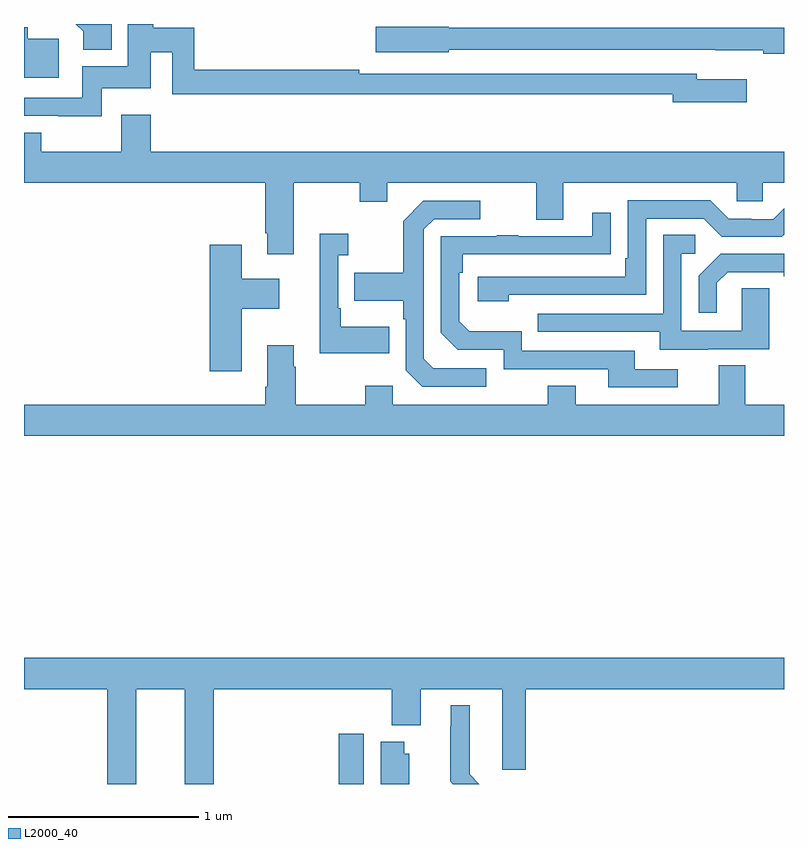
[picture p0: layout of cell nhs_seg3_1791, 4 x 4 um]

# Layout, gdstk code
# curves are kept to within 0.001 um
import gdstk
lib = gdstk.Library(unit=1e-6, precision=1e-09)
def R(c, l, rs):  # rectangles x0, y0, x1, y1
    for r in rs: c.add(gdstk.rectangle(r[:2], r[2:], *l))
def P(c, l, *ps):  # polygons
    for p in ps: c.add(gdstk.Polygon(p, *l))
L2000_40 = (2000, 40)

nhs_seg3_1791 = lib.new_cell('nhs_seg3_1791')
R(nhs_seg3_1791, L2000_40, [(204.656,716.4,204.787,716.665)])
P(nhs_seg3_1791, L2000_40, [(203.461,720.4),(203.273,720.4),(203.312,720.361),(203.312,720.264),(203.461,720.264)],
  [(203.41,720.062),(203.668,720.062),(203.668,720.252),(203.781,720.252),(203.781,720.03),(206.414,720.03),(206.414,719.987),(206.803,719.987),(206.803,720.109),(206.542,720.109),(206.542,720.138),(204.764,720.138),(204.764,720.158),(203.897,720.158),(203.897,720.38),(203.681,720.38),(203.681,720.4),(203.546,720.4),(203.546,720.178),(203.306,720.178),(203.306,720.012),(203,720.012),(203,719.916),(203.179,719.916),(203.179,719.915),(203.41,719.915)],
  [(207,720.38),(205.236,720.38),(205.236,720.386),(204.852,720.386),(204.852,720.251),(205.236,720.251),(205.236,720.264),(206.638,720.264),(206.638,720.263),(206.89,720.263),(206.89,720.244),(207,720.244)],
  [(203.184,720.322),(203.02,720.322),(203.02,720.382),(203,720.382),(203,720.116),(203.184,720.116)],
  [(204.421,719.564),(204.766,719.564),(204.766,719.465),(204.913,719.465),(204.913,719.564),(205.697,719.564),(205.697,719.37),(205.837,719.37),(205.837,719.564),(206.751,719.564),(206.751,719.466),(206.889,719.466),(206.889,719.564),(207,719.564),(207,719.728),(203.666,719.728),(203.666,719.923),(203.513,719.923),(203.513,719.728),(203.091,719.728),(203.091,719.827),(203,719.827),(203,719.564),(204.269,719.564),(204.269,719.299),(204.281,719.299),(204.281,719.187),(204.421,719.187)],
  [(205.55,718.974),(206.274,718.974),(206.274,719.376),(206.577,719.376),(206.673,719.28),(206.988,719.28),(207,719.292),(207,719.43),(206.943,719.373),(206.828,719.373),(206.828,719.376),(206.709,719.376),(206.613,719.472),(206.178,719.472),(206.178,719.167),(206.165,719.167),(206.165,719.07),(205.389,719.07),(205.389,718.94),(205.55,718.94)],
  [(205.432,718.587),(205.155,718.587),(205.104,718.638),(205.104,719.319),(205.158,719.373),(205.402,719.373),(205.402,719.469),(205.101,719.469),(204.996,719.363),(204.996,719.091),(204.739,719.091),(204.739,718.943),(204.996,718.943),(204.996,718.847),(205.008,718.847),(205.008,718.578),(205.095,718.491),(205.432,718.491)],
  [(206.44,718.584),(206.215,718.584),(206.215,718.68),(205.62,718.68),(205.62,718.783),(205.343,718.783),(205.29,718.836),(205.29,719.09),(205.31,719.09),(205.31,719.187),(206.087,719.188),(206.087,719.407),(205.991,719.407),(205.991,719.283),(205.601,719.283),(205.601,719.288),(205.489,719.288),(205.489,719.283),(205.194,719.283),(205.194,718.776),(205.284,718.686),(205.524,718.686),(205.524,718.584),(206.075,718.584),(206.075,718.488),(206.44,718.488)],
  [(204.923,718.807),(204.667,718.807),(204.667,718.903),(204.654,718.903),(204.654,719.183),(204.706,719.183),(204.706,719.296),(204.557,719.296),(204.557,718.667),(204.923,718.667)],
  [(206.599,718.689),(206.923,718.689),(206.923,719.009),(206.778,719.009),(206.778,718.785),(206.46,718.785),(206.46,719.19),(206.533,719.19),(206.533,719.291),(206.364,719.291),(206.364,718.875),(205.705,718.875),(205.705,718.779),(206.345,718.779),(206.345,718.685),(206.599,718.685)],
  [(204.145,718.901),(204.343,718.901),(204.343,719.059),(204.145,719.059),(204.145,719.239),(203.978,719.239),(203.978,718.572),(204.145,718.572)],
  [(206.647,719.037),(206.704,719.094),(206.999,719.094),(206.999,719.072),(207,719.072),(207,719.19),(206.666,719.19),(206.55,719.074),(206.55,718.881),(206.647,718.881)],
  [(207,718.396),(206.797,718.396),(206.797,718.604),(206.657,718.604),(206.657,718.396),(205.903,718.396),(205.903,718.495),(205.756,718.495),(205.756,718.396),(204.942,718.396),(204.942,718.495),(204.796,718.495),(204.796,718.396),(204.429,718.396),(204.429,718.595),(204.421,718.595),(204.421,718.708),(204.281,718.708),(204.281,718.492),(204.269,718.492),(204.269,718.396),(203,718.396),(203,718.232),(207,718.232)],
  [(203.59,716.9),(203.846,716.9),(203.846,716.4),(203.999,716.4),(203.999,716.9),(204.935,716.9),(204.935,716.708),(205.087,716.708),(205.087,716.9),(205.517,716.9),(205.517,716.475),(205.64,716.475),(205.64,716.9),(207,716.9),(207,717.064),(203,717.064),(203,716.9),(203.438,716.9),(203.438,716.4),(203.59,716.4)],
  [(205.345,716.452),(205.345,716.815),(205.247,716.815),(205.247,716.705),(205.243,716.705),(205.243,716.414),(205.257,716.4),(205.396,716.4)],
  [(205.027,716.559),(205,716.559),(205,716.623),(204.878,716.623),(204.878,716.4),(205.027,716.4)])

lib.write_gds('nhs_seg3_1791.gds')
